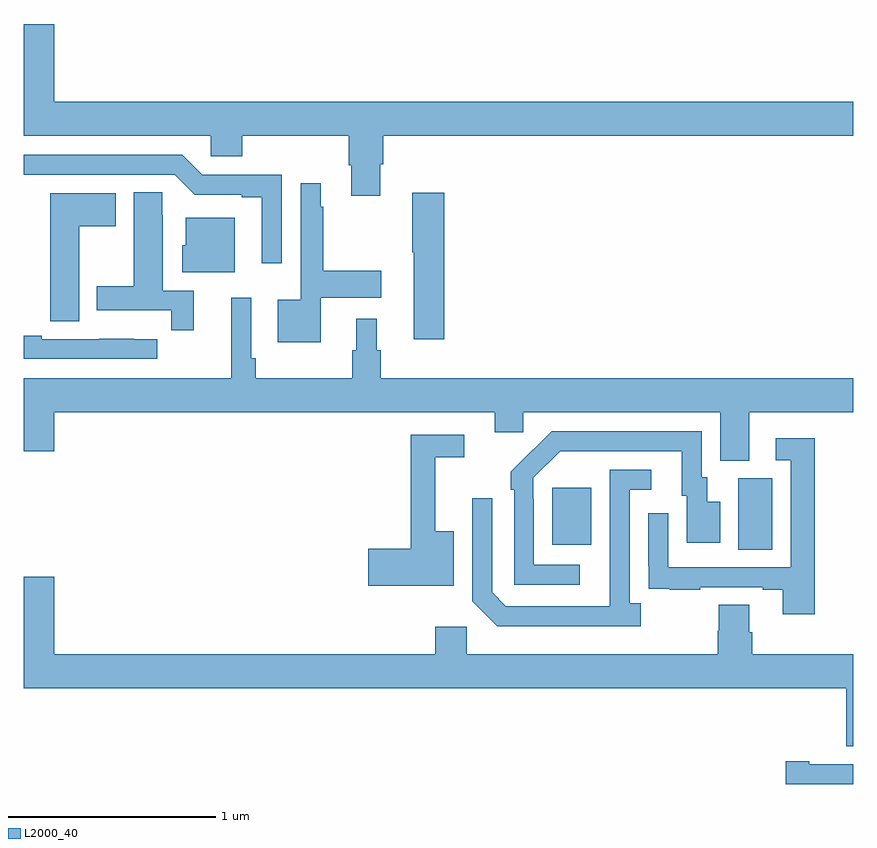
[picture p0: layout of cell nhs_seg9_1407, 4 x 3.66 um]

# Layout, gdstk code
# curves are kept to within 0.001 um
import gdstk
lib = gdstk.Library(unit=1e-6, precision=1e-09)
def R(c, l, rs):  # rectangles x0, y0, x1, y1
    for r in rs: c.add(gdstk.rectangle(r[:2], r[2:], *l))
def P(c, l, *ps):  # polygons
    for p in ps: c.add(gdstk.Polygon(p, *l))
L2000_40 = (2000, 40)

nhs_seg9_1407 = lib.new_cell('nhs_seg9_1407')
R(nhs_seg9_1407, L2000_40, [(192.446,1231.72,192.61,1232.064), (191.549,1231.745,191.737,1232.02)])
P(nhs_seg9_1407, L2000_40, [(190.72,1233.579),(190.733,1233.579),(190.733,1233.716),(193,1233.716),(193,1233.88),(189.148,1233.88),(189.148,1234.255),(189,1234.255),(189,1233.716),(189.903,1233.716),(189.903,1233.618),(190.055,1233.618),(190.055,1233.716),(190.568,1233.716),(190.568,1233.574),(190.58,1233.574),(190.58,1233.426),(190.72,1233.426)],
  [(190.245,1233.528),(189.861,1233.528),(189.765,1233.624),(189,1233.624),(189,1233.528),(189.729,1233.528),(189.825,1233.432),(190.052,1233.432),(190.052,1233.42),(190.148,1233.42),(190.148,1233.102),(190.245,1233.102)],
  [(190.432,1232.936),(190.723,1232.936),(190.723,1233.066),(190.444,1233.066),(190.444,1233.374),(190.432,1233.374),(190.432,1233.487),(190.335,1233.487),(190.335,1232.926),(190.226,1232.926),(190.226,1232.72),(190.432,1232.72)],
  [(189.821,1232.97),(189.67,1232.97),(189.67,1233.332),(189.669,1233.332),(189.669,1233.443),(189.53,1233.443),(189.53,1232.991),(189.353,1232.991),(189.353,1232.874),(189.712,1232.874),(189.712,1232.778),(189.821,1232.778)],
  [(191.027,1233.442),(190.873,1233.442),(190.873,1233.154),(190.88,1233.154),(190.88,1232.736),(191.027,1232.736)],
  [(189.268,1233.28),(189.445,1233.28),(189.445,1233.439),(189.128,1233.439),(189.128,1232.929),(189.129,1232.929),(189.129,1232.821),(189.268,1232.821)],
  [(190.018,1233.322),(189.782,1233.322),(189.782,1233.189),(189.764,1233.189),(189.764,1233.059),(190.018,1233.059)],
  [(192.499,1232.384),(193,1232.384),(193,1232.548),(190.721,1232.548),(190.721,1232.682),(190.702,1232.682),(190.702,1232.833),(190.604,1232.833),(190.604,1232.682),(190.585,1232.682),(190.585,1232.548),(190.118,1232.548),(190.118,1232.644),(190.098,1232.644),(190.098,1232.935),(190.001,1232.935),(190.001,1232.548),(189,1232.548),(189,1232.196),(189.148,1232.196),(189.148,1232.384),(191.27,1232.384),(191.27,1232.286),(191.409,1232.286),(191.409,1232.384),(192.359,1232.384),(192.359,1232.149),(192.499,1232.149)],
  [(189.643,1232.736),(189.53,1232.736),(189.53,1232.737),(189.364,1232.737),(189.364,1232.736),(189.088,1232.736),(189.088,1232.751),(189,1232.751),(189,1232.64),(189.643,1232.64)],
  [(191.68,1231.647),(191.46,1231.647),(191.46,1231.967),(191.457,1231.967),(191.457,1232.067),(191.586,1232.196),(192.173,1232.196),(192.173,1231.98),(192.197,1231.98),(192.197,1231.755),(192.358,1231.755),(192.358,1231.951),(192.295,1231.951),(192.295,1232.07),(192.27,1232.07),(192.27,1232.292),(191.546,1232.292),(191.349,1232.097),(191.349,1232.009),(191.364,1232.009),(191.364,1231.551),(191.68,1231.551)],
  [(191.074,1231.81),(190.985,1231.81),(190.985,1232.166),(191.125,1232.166),(191.125,1232.274),(190.867,1232.274),(190.867,1231.724),(190.662,1231.724),(190.662,1231.546),(191.074,1231.546)],
  [(192.815,1232.257),(192.627,1232.257),(192.627,1232.151),(192.699,1232.151),(192.699,1231.635),(192.108,1231.635),(192.108,1231.897),(192.012,1231.897),(192.012,1231.642),(192.013,1231.642),(192.013,1231.533),(192.115,1231.533),(192.115,1231.527),(192.263,1231.527),(192.263,1231.539),(192.563,1231.539),(192.563,1231.527),(192.659,1231.527),(192.659,1231.41),(192.815,1231.41)],
  [(191.974,1231.462),(191.922,1231.462),(191.922,1232.01),(192.025,1232.01),(192.025,1232.106),(191.826,1232.106),(191.825,1231.449),(191.325,1231.449),(191.259,1231.515),(191.259,1231.969),(191.163,1231.969),(191.163,1231.473),(191.284,1231.352),(191.974,1231.352)],
  [(193,1231.216),(192.512,1231.216),(192.512,1231.322),(192.499,1231.322),(192.499,1231.454),(192.352,1231.454),(192.352,1231.329),(192.347,1231.329),(192.347,1231.216),(191.136,1231.216),(191.136,1231.348),(190.985,1231.348),(190.985,1231.216),(189.148,1231.216),(189.148,1231.591),(189,1231.591),(189,1231.052),(192.965,1231.052),(192.965,1230.772),(193,1230.772)],
  [(193,1230.687),(192.787,1230.687),(192.787,1230.7),(192.675,1230.7),(192.675,1230.591),(193,1230.591)])

lib.write_gds('nhs_seg9_1407.gds')
